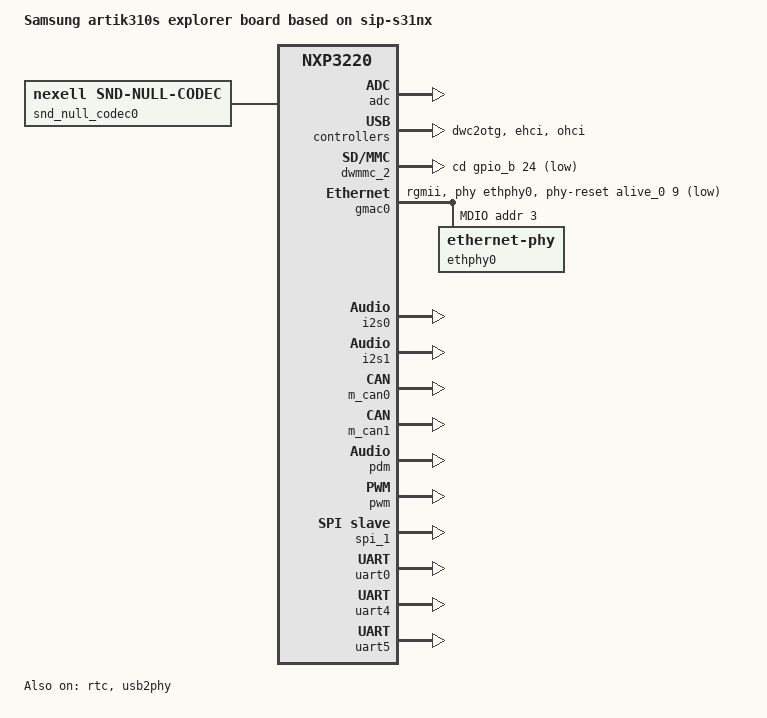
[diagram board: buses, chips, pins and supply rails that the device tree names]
// SPDX-License-Identifier: (GPL-2.0+ OR MIT)

/dts-v1/;
#include <dt-bindings/gpio/gpio.h>
#include <dt-bindings/reset/nexell,nxp3220-reset.h>
#include "sip-s31nx-artik310s.dtsi"

/ {
	model = "Samsung artik310s explorer board based on sip-s31nx";
	compatible = "samsung,artik310s-explorer", "samsung,artik310s",
		   "nexell,nxp3220";

	chosen {
		stdout-path = &uart0;
	};

	/* Null codec for PDM reference i2s */
	snd_null_codec0: snd_null_codec@0 {
		#sound-dai-cells = <0>;
		compatible = "nexell,snd-null-codec";
		status = "okay";
	};

	sound0: sound@0 {
		compatible = "simple-audio-card";
		simple-audio-card,name = "nxp3220 Audio Card Loopback";
		status = "okay";

		simple-audio-card,dai-link@0 {
			mclk-fs = <256>;
			format = "i2s";
			frame-master = <&sndcpu0>;
			bitclock-master = <&sndcpu0>;

			sndcpu0: cpu  {
				sound-dai = <&i2s0 0>;
			};

			sndcodec0: codec {
				sound-dai = <&snd_null_codec0>;
			};
		};

		simple-audio-card,dai-link@1 {
			mclk-fs = <256>;
			format = "i2s";
			frame-master = <&sndcodec2>;
			bitclock-master = <&sndcodec2>;

			sndcpu2: cpu  {
				sound-dai = <&i2s1 0>;
			};

			sndcodec2: codec {
				sound-dai = <&snd_null_codec0>;
			};
		};
	};

	sound-pdm {
		compatible = "nexell,nxp3220-pdm-card";
		snd-controller = <&pdm>;
	};

};

&adc {
	status = "okay";
};

&dwc2otg {
	status = "okay";
};

&dwmmc_2 {
	cap-sd-highspeed;
	cd-gpios = <&gpio_b 24 0>;
	cd-inverted;
	clock-frequency = <200000000>;
	nexell,drive_shift = <0x01>;
	nexell,sample_shift = <0x00>;
	card-detect-delay = <200>;
	disable-wp;
	status = "okay";
};

&ehci {
	status = "okay";
};

&gmac0 {
	status = "okay";

	pinctrl-names = "default";
	pinctrl-0 = <&gmac0_pins>;
	phy-mode = "rgmii";
	phy-handle = <&ethphy0>;

	phy-reset-gpios = <&alive_0 9 GPIO_ACTIVE_LOW>;
	phy-intr-gpios = <&alive_0 5 GPIO_ACTIVE_LOW>;
	phy-pme-gpios = <&alive_0 2 GPIO_ACTIVE_LOW>;

	mdio@3 {
		#address-cells = <1>;
		#size-cells = <0>;

		ethphy0: ethernet-phy@3 {
			reg = <3>;
		};
	};
};

&gmac0_phyint {
	nexell,pins = "alive-5";
};

&gmac0_pme {
	nexell,pins = "alive-2";
};

&i2s0 {
	frame-bit = <32>;
	sample-rate = <48000>;
	status = "okay";
};

&i2s1 {
	frame-bit = <32>;
	sample-rate = <48000>;
	status = "okay";
};

&m_can0 {
	status = "okay";
};

&m_can1 {
	status = "okay";
};

&mmc2_clk {
	nexell,pin-strength = <NX_PIN_STR1>;
};

&ohci {
	status = "okay";
};

&pdm {
	ref-iis = <1>;
	sample-rate = <16000>;
	strobe-hz = <1024000>;
	status = "okay";
};

&pwm {
	status = "okay";
	nexell,pwm-outputs = <0>, <1>, <2>, <3>;
};

&rtc {
	status = "okay";
};

&spi_1 {
	status = "okay";
	syscon0 = <&sys_reg_sys>;
	cs-gpios = <&gpio_a 9 0>;

	spi-dma;
	spi-slave;
	slave-sel-offset = <0x34>;

	resets = <&cmu CLK_RESET_SPI1_CORE>;

	slave {
		compatible = "linux,spidev";
	};
};

&uart0 {
	status = "okay";
};

&uart4 {
	status = "okay";
	pinctrl-0 = <&uart4_bus &uart4_485>;
	linux,rs485-enabled-at-boot-time;
	rs485-rts-active-low;
};

&uart5 {
	status = "okay";
	pinctrl-0 = <&uart5_bus &uart5_485>;
	linux,rs485-enabled-at-boot-time;
	rs485-rts-active-low;
};

&usb2phy {
	status = "okay";
	otg,vbus-tune = <0>;
};
